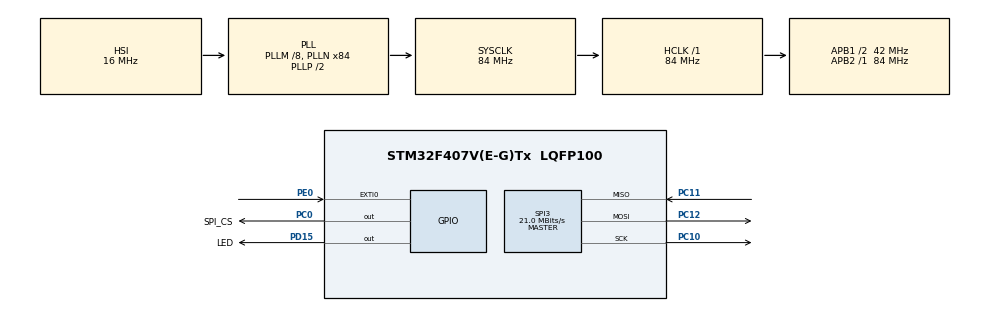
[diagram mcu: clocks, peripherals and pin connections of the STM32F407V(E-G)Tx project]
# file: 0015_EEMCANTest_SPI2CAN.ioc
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Mcu.Family=STM32F4
Mcu.Name=STM32F407V(E-G)Tx
Mcu.Package=LQFP100
NVIC.EXTI0_IRQn=true\:0\:0\:false\:false\:true\:true\:true\:true
NVIC.PriorityGroup=NVIC_PRIORITYGROUP_4
PC0.GPIO_Label=SPI_CS
PC0.PinState=GPIO_PIN_SET
PC0.Signal=GPIO_Output
PC10.Mode=Full_Duplex_Master
PC10.Signal=SPI3_SCK
PC11.Mode=Full_Duplex_Master
PC11.Signal=SPI3_MISO
PC12.Mode=Full_Duplex_Master
PC12.Signal=SPI3_MOSI
PD15.GPIO_Label=LED
PD15.Signal=GPIO_Output
PE0.Signal=GPXTI0
PH0-OSC_IN.Mode=HSE-External-Oscillator
PH0-OSC_IN.Signal=RCC_OSC_IN
PH1-OSC_OUT.Mode=HSE-External-Oscillator
PH1-OSC_OUT.Signal=RCC_OSC_OUT
ProjectManager.HeapSize=0x200
ProjectManager.StackSize=0x400
ProjectManager.TargetToolchain=STM32CubeIDE
RCC.48MHZClocksFreq_Value=42000000
RCC.AHBFreq_Value=84000000
RCC.APB1CLKDivider=RCC_HCLK_DIV2
RCC.APB1Freq_Value=42000000
RCC.APB1TimFreq_Value=84000000
RCC.APB2Freq_Value=84000000
RCC.APB2TimFreq_Value=84000000
RCC.CortexFreq_Value=84000000
RCC.HCLKFreq_Value=84000000
RCC.HSE_VALUE=25000000
RCC.HSI_VALUE=16000000
RCC.LSE_VALUE=32768
RCC.PLLM=8
RCC.PLLN=84
RCC.SYSCLKFreq_VALUE=84000000
RCC.SYSCLKSource=RCC_SYSCLKSOURCE_PLLCLK
RCC.VCOOutputFreq_Value=168000000
SPI3.CalculateBaudRate=21.0 MBits/s
SPI3.Direction=SPI_DIRECTION_2LINES
SPI3.Mode=SPI_MODE_MASTER
SPI3.VirtualType=VM_MASTER
board=custom

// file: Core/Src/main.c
/* USER CODE BEGIN Header */
/**
  ******************************************************************************
  * @file           : main.c
  * @brief          : Main program body
  ******************************************************************************
  * @attention
  *
  * Copyright (c) 2023 STMicroelectronics.
  * All rights reserved.
  *
  * This software is licensed under terms that can be found in the LICENSE file
  * in the root directory of this software component.
  * If no LICENSE file comes with this software, it is provided AS-IS.
  *
  ******************************************************************************
  */
/* USER CODE END Header */
#include "main.h"

/* USER CODE BEGIN Includes */
#include "EEMProtocol.h"
#include "EEMProtocol_Config.h"
/* USER CODE END Includes */

SPI_HandleTypeDef hspi3;

/* USER CODE BEGIN PV */
EEM_Protocol_st			protocol;

extern BCM_Module_st	BCM_MSG;
/* HVAC module has been written Cpp language in order to arduino framework */
/* Simple computer protocol has written pyhton language */
extern BMS_Module_st	BMS_MSG;
extern MS1_Module_st	MS1_MSG;
extern MS2_Module_st	MS2_MSG;
extern ISO_Module_st	ISO_MSG;
extern TLM_Module_st	TLM_MSG;
extern YSB_Module_st	YSB_MSG;

/* USER CODE END PV */

void SystemClock_Config(void);
static void MX_GPIO_Init(void);
static void MX_SPI3_Init(void);

int main(void)
{

  /* MCU Configuration--------------------------------------------------------*/

  /* Reset of all peripherals, Initializes the Flash interface and the Systick. */
  HAL_Init();

  /* Configure the system clock */
  SystemClock_Config();

  /* Initialize all configured peripherals */
  MX_GPIO_Init();
  MX_SPI3_Init();
  /* USER CODE BEGIN 2 */

  protocol.ops = ops;

  protocol.ops.EEM_INIT(&protocol.obj);

  /* USER CODE END 2 */

  /* Infinite loop */
  while (1)
  {

    /* USER CODE BEGIN 3 */
	  EEM_PERIODIC(&protocol.obj.canPacket);

	  static uint32_t loopVal = 0;

	  MS1_MSG.Message20.SPN.MS1_Speed = loopVal;
	  loopVal++;

	  memcpy(&protocol.obj.canPacket.DATA[0] , &MS1_MSG.Message20.payload[0] , 8);
	  protocol.obj.canPacket.EXTENDED_ID.identifier = MS1_MSG.Message20_ID;

	  protocol.ops.EEM_TX( &protocol.obj.canPacket , 0);
	  HAL_Delay(100);

  }
  /* USER CODE END 3 */
}

void SystemClock_Config(void)
{
  RCC_OscInitTypeDef RCC_OscInitStruct = {0};
  RCC_ClkInitTypeDef RCC_ClkInitStruct = {0};

  /** Configure the main internal regulator output voltage
  */
  __HAL_RCC_PWR_CLK_ENABLE();
  __HAL_PWR_VOLTAGESCALING_CONFIG(PWR_REGULATOR_VOLTAGE_SCALE1);

  /** Initializes the RCC Oscillators according to the specified parameters
  * in the RCC_OscInitTypeDef structure.
  */
  RCC_OscInitStruct.OscillatorType = RCC_OSCILLATORTYPE_HSI;
  RCC_OscInitStruct.HSIState = RCC_HSI_ON;
  RCC_OscInitStruct.HSICalibrationValue = RCC_HSICALIBRATION_DEFAULT;
  RCC_OscInitStruct.PLL.PLLState = RCC_PLL_ON;
  RCC_OscInitStruct.PLL.PLLSource = RCC_PLLSOURCE_HSI;
  RCC_OscInitStruct.PLL.PLLM = 8;
  RCC_OscInitStruct.PLL.PLLN = 84;
  RCC_OscInitStruct.PLL.PLLP = RCC_PLLP_DIV2;
  RCC_OscInitStruct.PLL.PLLQ = 4;
  if (HAL_RCC_OscConfig(&RCC_OscInitStruct) != HAL_OK)
  {
    Error_Handler();
  }

  /** Initializes the CPU, AHB and APB buses clocks
  */
  RCC_ClkInitStruct.ClockType = RCC_CLOCKTYPE_HCLK|RCC_CLOCKTYPE_SYSCLK
                              |RCC_CLOCKTYPE_PCLK1|RCC_CLOCKTYPE_PCLK2;
  RCC_ClkInitStruct.SYSCLKSource = RCC_SYSCLKSOURCE_PLLCLK;
  RCC_ClkInitStruct.AHBCLKDivider = RCC_SYSCLK_DIV1;
  RCC_ClkInitStruct.APB1CLKDivider = RCC_HCLK_DIV2;
  RCC_ClkInitStruct.APB2CLKDivider = RCC_HCLK_DIV1;

  if (HAL_RCC_ClockConfig(&RCC_ClkInitStruct, FLASH_LATENCY_2) != HAL_OK)
  {
    Error_Handler();
  }
}

static void MX_SPI3_Init(void)
{

  /* SPI3 parameter configuration*/
  hspi3.Instance = SPI3;
  hspi3.Init.Mode = SPI_MODE_MASTER;
  hspi3.Init.Direction = SPI_DIRECTION_2LINES;
  hspi3.Init.DataSize = SPI_DATASIZE_8BIT;
  hspi3.Init.CLKPolarity = SPI_POLARITY_LOW;
  hspi3.Init.CLKPhase = SPI_PHASE_1EDGE;
  hspi3.Init.NSS = SPI_NSS_SOFT;
  hspi3.Init.BaudRatePrescaler = SPI_BAUDRATEPRESCALER_2;
  hspi3.Init.FirstBit = SPI_FIRSTBIT_MSB;
  hspi3.Init.TIMode = SPI_TIMODE_DISABLE;
  hspi3.Init.CRCCalculation = SPI_CRCCALCULATION_DISABLE;
  hspi3.Init.CRCPolynomial = 10;
  if (HAL_SPI_Init(&hspi3) != HAL_OK)
  {
    Error_Handler();
  }

}

static void MX_GPIO_Init(void)
{
  GPIO_InitTypeDef GPIO_InitStruct = {0};

  /* GPIO Ports Clock Enable */
  __HAL_RCC_GPIOH_CLK_ENABLE();
  __HAL_RCC_GPIOC_CLK_ENABLE();
  __HAL_RCC_GPIOD_CLK_ENABLE();
  __HAL_RCC_GPIOE_CLK_ENABLE();

  /*Configure GPIO pin Output Level */
  HAL_GPIO_WritePin(SPI_CS_GPIO_Port, SPI_CS_Pin, GPIO_PIN_SET);

  /*Configure GPIO pin Output Level */
  HAL_GPIO_WritePin(LED_GPIO_Port, LED_Pin, GPIO_PIN_RESET);

  /*Configure GPIO pin : SPI_CS_Pin */
  GPIO_InitStruct.Pin = SPI_CS_Pin;
  GPIO_InitStruct.Mode = GPIO_MODE_OUTPUT_PP;
  GPIO_InitStruct.Pull = GPIO_NOPULL;
  GPIO_InitStruct.Speed = GPIO_SPEED_FREQ_LOW;
  HAL_GPIO_Init(SPI_CS_GPIO_Port, &GPIO_InitStruct);

  /*Configure GPIO pin : LED_Pin */
  GPIO_InitStruct.Pin = LED_Pin;
  GPIO_InitStruct.Mode = GPIO_MODE_OUTPUT_PP;
  GPIO_InitStruct.Pull = GPIO_NOPULL;
  GPIO_InitStruct.Speed = GPIO_SPEED_FREQ_LOW;
  HAL_GPIO_Init(LED_GPIO_Port, &GPIO_InitStruct);

  /*Configure GPIO pin : PE0 */
  GPIO_InitStruct.Pin = GPIO_PIN_0;
  GPIO_InitStruct.Mode = GPIO_MODE_IT_RISING;
  GPIO_InitStruct.Pull = GPIO_NOPULL;
  HAL_GPIO_Init(GPIOE, &GPIO_InitStruct);

  /* EXTI interrupt init*/
  HAL_NVIC_SetPriority(EXTI0_IRQn, 0, 0);
  HAL_NVIC_EnableIRQ(EXTI0_IRQn);

}

void Error_Handler(void)
{
  __disable_irq();
  while (1)
  {
  }
}
